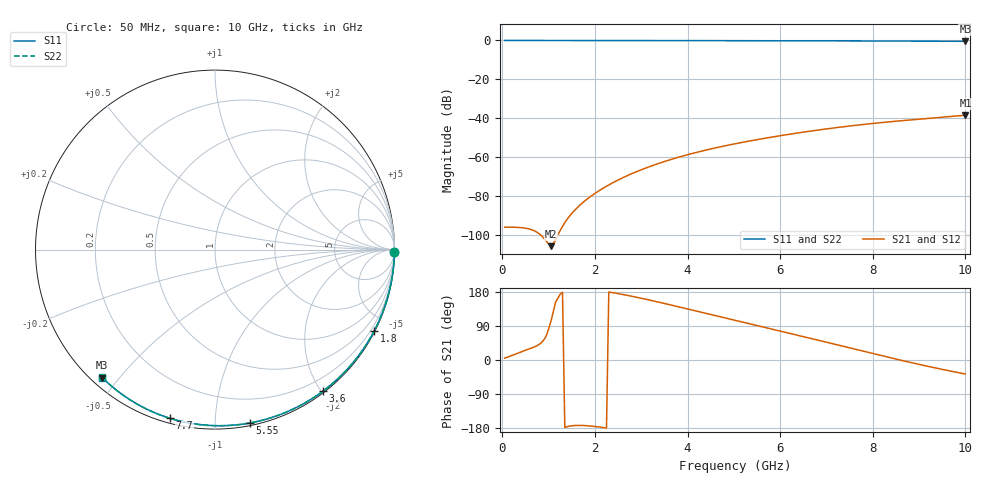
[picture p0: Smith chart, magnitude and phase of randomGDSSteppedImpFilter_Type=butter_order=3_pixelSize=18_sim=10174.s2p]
! freq	dB(S11)	phase(S11)	dB(S12)	phase(S12)
!  dB(S21)	phase(S21)	dB(S22)	phase(S22)
!S-par simulation data
#  GHz  S  DB  R 50
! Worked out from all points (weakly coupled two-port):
!   200 points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, 50 MHz to 10 GHz, reference 50 ohm
!   highest |S21| = -38.46 dB at 10 GHz (marker M1); lowest = -105.9 dB at 1.05 GHz (marker M2)
!   lowest |S11| = -0.4 dB at 10 GHz (marker M3), VSWR 39.04, Z = 1.54 - j22.6 ohm
!   |S11| at or under -10 dB: nowhere
!   |S22| runs from -0.5 to 0.0 dB; largest |S21 - S12| = 0
!   S11 on the Smith chart (normalised r, x): 50 MHz: open; 1.8 GHz: 0.04, -4.18; 3.6 GHz: 0.02, -2.02; 5.55 GHz: 0.02, -1.22; 7.7 GHz: 0.02, -0.77; 10 GHz: 0.03, -0.45
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0.05  -0.00 -0.8  -96.10 5.1  -96.10 5.1  -0.00 -0.8
0.55  -0.01 -8.3  -96.85 27.9  -96.85 27.9  -0.01 -8.3
1.05  -0.02 -15.8  -105.87 101.8  -105.87 101.8  -0.02 -15.8
1.75  -0.03 -26.2  -83.20 -172.8  -83.20 -172.8  -0.03 -26.2
1.8  -0.03 -26.9  -82.22 -173.2  -82.22 -173.2  -0.03 -26.9
1.9  -0.04 -28.4  -80.40 -174.1  -80.40 -174.1  -0.04 -28.4
1.95  -0.04 -29.1  -79.54 -174.7  -79.54 -174.7  -0.04 -29.1
2.25  -0.04 -33.5  -75.01 -179.6  -75.01 -179.6  -0.04 -33.5
2.55  -0.05 -37.8  -71.24 174.1  -71.24 174.1  -0.05 -37.8
2.95  -0.06 -43.5  -67.03 164.3  -67.03 164.3  -0.06 -43.6
3.4  -0.07 -49.9  -63.09 152.1  -63.09 152.1  -0.07 -49.9
3.6  -0.07 -52.6  -61.55 146.4  -61.55 146.4  -0.07 -52.7
3.9  -0.08 -56.8  -59.45 137.7  -59.45 137.7  -0.08 -56.8
4.3  -0.09 -62.2  -56.97 125.9  -56.97 125.9  -0.09 -62.3
5.05  -0.11 -72.2  -53.06 103.9  -53.06 103.9  -0.11 -72.2
5.55  -0.13 -78.6  -50.83 89.4  -50.83 89.4  -0.13 -78.7
6.1  -0.15 -85.6  -48.64 73.4  -48.64 73.4  -0.15 -85.7
6.7  -0.18 -93.0  -46.50 55.8  -46.50 55.8  -0.18 -93.1
7.7  -0.24 -105.0  -43.48 26.0  -43.48 26.0  -0.24 -105.1
8.35  -0.29 -112.6  -41.89 6.7  -41.89 6.7  -0.29 -112.7
9.15  -0.36 -121.7  -40.22 -15.7  -40.22 -15.7  -0.36 -121.9
10  -0.45 -131.4  -38.46 -37.0  -38.46 -37.0  -0.45 -131.6
